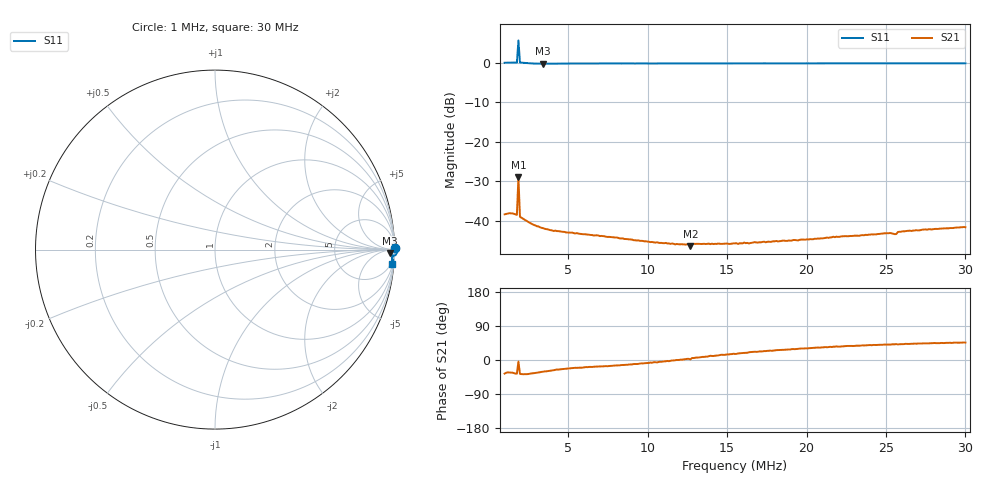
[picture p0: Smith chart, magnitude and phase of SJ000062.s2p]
!File created by NanoVNA-F V2
# Hz S RI R 50
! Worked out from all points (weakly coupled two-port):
!   301 points, 1 MHz to 30 MHz, reference 50 ohm
!   highest |S21| = -28.99 dB at 1.87 MHz (marker M1); lowest = -46.5 dB at 12.7 MHz (marker M2)
!   lowest |S11| = -0.2 dB at 3.417 MHz (marker M3), VSWR 84.27, Z = 2.5e+03 - j2.07e+03 ohm
!   |S11| at or under -10 dB: nowhere
!   S12 and S22 are empty: the file has one direction only
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1000000  1.006 0.00708  0.00974 -0.00704  0 0  0 0
1289998  1.01 0.000407  0.0104 -0.00675  0 0  0 0
1773328  1.013 -0.0135  0.00956 -0.00696  0 0  0 0
1869994  -1.492 1.224  0.0354 -0.00255  0 0  0 0
1966660  1.011 -0.0216  0.00894 -0.00667  0 0  0 0
2836654  0.9822 -0.0288  0.00725 -0.00502  0 0  0 0
3416650  0.9764 -0.0192  0.00688 -0.00414  0 0  0 0
4093312  0.9784 -0.0126  0.00658 -0.00334  0 0  0 0
5833300  0.9839 -0.0155  0.00632 -0.00236  0 0  0 0
1.06666e7  0.9859 -0.0271  0.00523 -0.000507  0 0  0 0
1.172993e7  0.9851 -0.0304  0.00499 -6.6e-05  0 0  0 0
1.250325e7  0.9863 -0.0311  0.00502 0.000276  0 0  0 0
1.269659e7  0.9846 -0.0322  0.00474 0.00014  0 0  0 0
1.279325e7  0.9864 -0.0317  0.00504 0.000462  0 0  0 0
1.288992e7  0.9846 -0.0336  0.00506 0.000455  0 0  0 0
1.54999e7  0.9857 -0.0392  0.00495 0.00141  0 0  0 0
2.03332e7  0.9863 -0.0519  0.00493 0.00305  0 0  0 0
2.51665e7  0.9885 -0.0644  0.00526 0.0045  0 0  0 0
2.564983e7  0.9871 -0.0665  0.00502 0.00451  0 0  0 0
2.57465e7  0.988 -0.0664  0.0054 0.0047  0 0  0 0
2.603649e7  0.988 -0.0684  0.00543 0.0049  0 0  0 0
2.99998e7  0.9865 -0.0777  0.00572 0.00594  0 0  0 0
